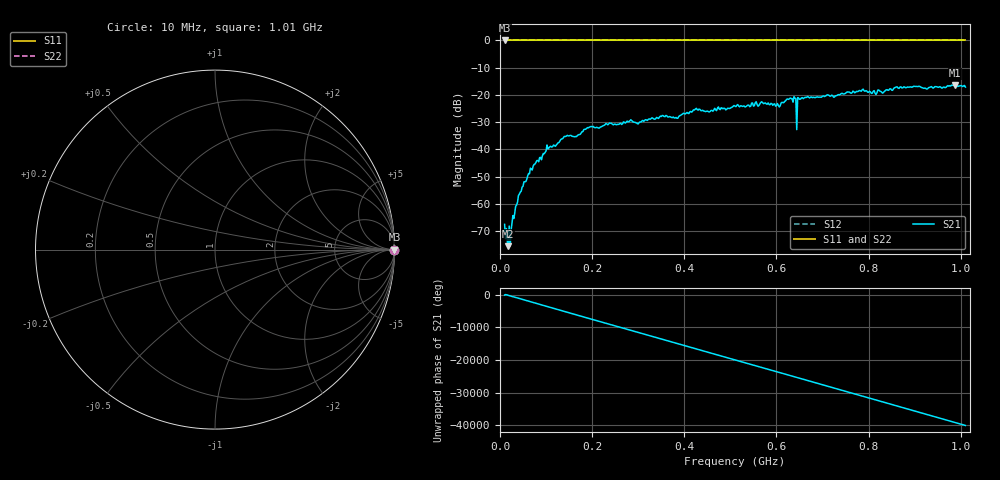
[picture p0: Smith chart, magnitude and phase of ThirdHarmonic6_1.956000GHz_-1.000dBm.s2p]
! 8/16/2025 11:32:58 PM
! C:\ANRITSUVNA\TEMP\TEMP.S2P
! CHANNEL.1
! TR.MEASUREMENT
! RAW.DATA
! RF.CORRECTION.OFF
! AVERAGING.OFF
! IF.BANDWIDTH: 5KHZ
! SWEEPTYPE:  FREQ.SWEEP(Linear)
! Reference Plane Port Info
! PORT:  PORT1  PORT2
! DISTANCE:  0  m  0  m
! TIME:  0  s  0  s
! PHASE.OFFSET:  0  deg.  0  deg.
! LOSS:  0  dB  0  dB
! REF.LOSS:  0  dB  0  dB
! REF.FREQ:  0  Hz  0  Hz
! Power Info
! POWER:  -20  dBm  -20  dBm
! EFF.POWER:  -20  dBm  -20  dBm
! SOURCE.ATTEN:  0  dB  0  dB
! TEST.ATTEN:  0  dB  0  dB
# GHZ S RI R 50.0
! FREQ.GHZ  S11RE  S11IM  S21RE  S21IM  S12RE  S12IM  S22RE  S22IM
!; PortSelection: Port_12
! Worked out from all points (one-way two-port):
!   501 points, 10 MHz to 1.01 GHz, reference 50 ohm
!   highest |S21| = -16.39 dB at 988 MHz (marker M1); lowest = -75.5 dB at 18 MHz (marker M2)
!   lowest |S11| = 0.0 dB at 10 MHz (marker M3)
!   |S11| at or under -10 dB: nowhere
!   |S22| runs from 0.0 to 0.0 dB; largest |S21 - S12| = 1.1
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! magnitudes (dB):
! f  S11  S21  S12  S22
! 10 MHz  0.0  -67.5  0.0  0.0
! 18 MHz  0.0  -75.5  0.0  0.0
! 20 MHz  0.0  -68.1  0.0  0.0
! 30 MHz  0.0  -65.3  0.0  0.0
! 44 MHz  0.0  -55.7  0.0  0.0
! 76 MHz  0.0  -45.3  0.0  0.0
! 106 MHz  0.0  -39.5  0.0  0.0
! 142 MHz  0.0  -35.2  0.0  0.0
! 178 MHz  0.0  -33.5  0.0  0.0
! 198 MHz  0.0  -31.6  0.0  0.0
! 344 MHz  0.0  -28.6  0.0  0.0
! 382 MHz  0.0  -28.3  0.0  0.0
! 424 MHz  0.0  -25.2  0.0  0.0
! 510 MHz  0.0  -24.1  0.0  0.0
! 604 MHz  0.0  -23.7  0.0  0.0
! 630 MHz  0.0  -21.1  0.0  0.0
! 648 MHz  0.0  -21.2  0.0  0.0
! 650 MHz  0.0  -21.6  0.0  0.0
! 678 MHz  0.0  -21.0  0.0  0.0
! 844 MHz  0.0  -18.2  0.0  0.0
! 988 MHz  0.0  -16.4  0.0  0.0
! 1.01 GHz  0.0  -17.1  0.0  0.0
